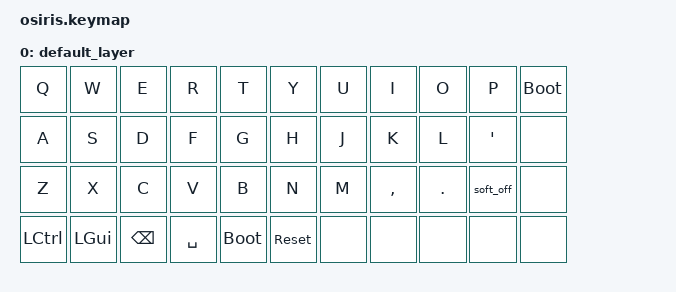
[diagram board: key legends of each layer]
#include <behaviors.dtsi>
#include <dt-bindings/zmk/keys.h>
#include <dt-bindings/zmk/matrix_transform.h>

/ {
    behaviors {
        soft_off_with_wakeup: soft_off_with_wakeup {
            compatible = "zmk,behavior-soft-off";
            #binding-cells = <0>;
        };
    };

    // 1. Monitor the Q key's ROW pin (Pro Micro pin 3) as the hardware interrupt
    keys {
        compatible = "gpio-keys";
        soft_off_gpio_key: soft_off_gpio_key { 
            gpios = <&pro_micro 3 (GPIO_ACTIVE_HIGH | GPIO_PULL_DOWN)>; 
        };
    };

    // 2. Set the Q key's COL pin (Pro Micro pin 7) high so pressing the key triggers the row input
    wakeup_scan: wakeup_scan {
        compatible = "zmk,gpio-key-wakeup-trigger";
        trigger = <&soft_off_gpio_key>;
        wakeup-source;
        extra-gpios = <&pro_micro 7 GPIO_ACTIVE_HIGH>;
    };

    // 3. Register your virtual trigger as an official system waker
    soft_off_wakers {
        compatible = "zmk,soft-off-wakeup-sources";
        wakeup-sources = <&wakeup_scan>;
    };
    
    keymap {
        compatible = "zmk,keymap";

        default_layer {
            bindings = <
                // Row 1: 11 Physical Keys
                &kp Q     &kp W     &kp E          &kp R     &kp T          &kp Y        &kp U     &kp I     &kp O     &kp P                 &bootloader
                
                // Row 2: 10 Physical Keys + 1 Spacer Matrix Block
                &kp A     &kp S     &kp D          &kp F     &kp G          &kp H        &kp J     &kp K     &kp L     &kp SINGLE_QUOTE      &none
                
                // Row 3: 10 Physical Keys + 1 Spacer Matrix Block
                &kp Z     &kp X     &kp C          &kp V     &kp B          &kp N        &kp M     &kp COMMA &kp DOT   &soft_off &none
                
                // Row 4: 6 Physical Keys + 5 Spacer Matrix Blocks
                &kp LCTRL &kp LGUI  &kp BACKSPACE  &kp SPACE &bootloader    &sys_reset   &none     &none     &none     &none                 &none
            >;
        };
    };
};
